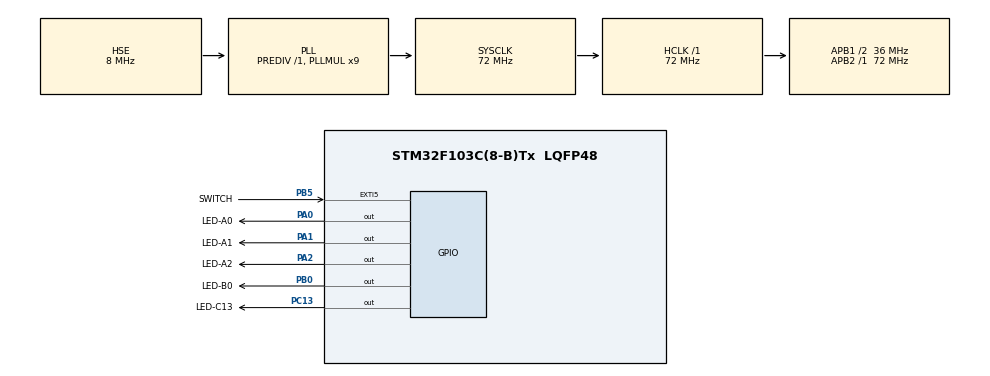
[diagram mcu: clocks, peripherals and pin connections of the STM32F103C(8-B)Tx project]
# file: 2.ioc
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Mcu.Family=STM32F1
Mcu.Name=STM32F103C(8-B)Tx
Mcu.Package=LQFP48
NVIC.EXTI9_5_IRQn=true\:1\:0\:true\:false\:true\:true\:true\:true
NVIC.PriorityGroup=NVIC_PRIORITYGROUP_4
PA0-WKUP.GPIO_Label=LED-A0
PA0-WKUP.Signal=GPIO_Output
PA1.GPIO_Label=LED-A1
PA1.Signal=GPIO_Output
PA13.Mode=Serial_Wire
PA13.Signal=SYS_JTMS-SWDIO
PA14.Mode=Serial_Wire
PA14.Signal=SYS_JTCK-SWCLK
PA2.GPIO_Label=LED-A2
PA2.Signal=GPIO_Output
PB0.GPIO_Label=LED-B0
PB0.Signal=GPIO_Output
PB5.GPIO_Label=SWITCH
PB5.GPIO_ModeDefaultEXTI=GPIO_MODE_IT_RISING_FALLING
PB5.GPIO_PuPd=GPIO_PULLDOWN
PB5.Signal=GPXTI5
PC13-TAMPER-RTC.GPIO_Label=LED-C13
PC13-TAMPER-RTC.Signal=GPIO_Output
PD0-OSC_IN.Mode=HSE-External-Oscillator
PD0-OSC_IN.Signal=RCC_OSC_IN
PD1-OSC_OUT.Mode=HSE-External-Oscillator
PD1-OSC_OUT.Signal=RCC_OSC_OUT
ProjectManager.HeapSize=0x200
ProjectManager.StackSize=0x400
ProjectManager.TargetToolchain=MDK-ARM V5.32
RCC.AHBFreq_Value=72000000
RCC.APB1CLKDivider=RCC_HCLK_DIV2
RCC.APB1Freq_Value=36000000
RCC.APB1TimFreq_Value=72000000
RCC.APB2Freq_Value=72000000
RCC.APB2TimFreq_Value=72000000
RCC.HCLKFreq_Value=72000000
RCC.PLLMUL=RCC_PLL_MUL9
RCC.PLLSourceVirtual=RCC_PLLSOURCE_HSE
RCC.SYSCLKFreq_VALUE=72000000
RCC.SYSCLKSource=RCC_SYSCLKSOURCE_PLLCLK
RCC.USBFreq_Value=72000000
board=custom

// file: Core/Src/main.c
 /* USER CODE BEGIN Header */
/**
  ******************************************************************************
  * @file           : main.c
  * @brief          : Main program body
  ******************************************************************************
  * @attention
  *
  * Copyright (c) 2024 STMicroelectronics.
  * All rights reserved.
  *
  * This software is licensed under terms that can be found in the LICENSE file
  * in the root directory of this software component.
  * If no LICENSE file comes with this software, it is provided AS-IS.
  *
  ******************************************************************************
  */
/* USER CODE END Header */
#include "main.h"
#include "gpio.h"

void SystemClock_Config(void);

/* USER CODE BEGIN 0 */
uint32_t sign=0;//自定义中断标识符号
void HAL_GPIO_EXTI_Callback(uint16_t GPIO_Pin){
  if(GPIO_Pin == SWITCH_Pin){
      //获取B5的电位
     GPIO_PinState pinState = HAL_GPIO_ReadPin(SWITCH_GPIO_Port,SWITCH_Pin);

      //高电位
      if(pinState==GPIO_PIN_SET)//PB5高电位流水灯亮
      {
		  sign=1;
	  }
      //低电位
      else if(pinState==GPIO_PIN_RESET)//PB5低电位流水灯灭
	  {
		  sign=0;//PB5低电位标识
	  }
      }
   }

/* USER CODE END 0 */

int main(void)
{

  /* MCU Configuration--------------------------------------------------------*/

  /* Reset of all peripherals, Initializes the Flash interface and the Systick. */
  HAL_Init();

  /* Configure the system clock */
  SystemClock_Config();

  /* Initialize all configured peripherals */
  MX_GPIO_Init();

  /* Infinite loop */
  /* USER CODE BEGIN WHILE */
  while (1)
  {
		switch(sign)
		{
			case 0:
			{
					HAL_GPIO_WritePin(GPIOA,GPIO_PIN_0,GPIO_PIN_RESET);
				  HAL_GPIO_WritePin(GPIOB,GPIO_PIN_0,GPIO_PIN_SET);
				  HAL_GPIO_WritePin(GPIOC,GPIO_PIN_13,GPIO_PIN_SET);
				  HAL_Delay(500);
			if(sign==1)
				{
				HAL_GPIO_WritePin(GPIOA,GPIO_PIN_0,GPIO_PIN_SET);
				HAL_GPIO_WritePin(GPIOB,GPIO_PIN_0,GPIO_PIN_SET);
				HAL_GPIO_WritePin(GPIOC,GPIO_PIN_13,GPIO_PIN_SET);
				   break;
				}

			  	HAL_GPIO_WritePin(GPIOA,GPIO_PIN_0,GPIO_PIN_SET);
				  HAL_GPIO_WritePin(GPIOB,GPIO_PIN_0,GPIO_PIN_RESET);
			   	HAL_GPIO_WritePin(GPIOC,GPIO_PIN_13,GPIO_PIN_SET);
			   	HAL_Delay(500);
				if(sign==1)
				{
				HAL_GPIO_WritePin(GPIOA,GPIO_PIN_0,GPIO_PIN_SET);
				HAL_GPIO_WritePin(GPIOB,GPIO_PIN_0,GPIO_PIN_SET);
				HAL_GPIO_WritePin(GPIOC,GPIO_PIN_13,GPIO_PIN_SET);
				   break;
				}

				  HAL_GPIO_WritePin(GPIOA,GPIO_PIN_0,GPIO_PIN_SET);
				  HAL_GPIO_WritePin(GPIOB,GPIO_PIN_0,GPIO_PIN_SET);
				  HAL_GPIO_WritePin(GPIOC,GPIO_PIN_13,GPIO_PIN_RESET);
				  HAL_Delay(500);
			}

			case 1:

			{
				HAL_GPIO_WritePin(GPIOA,GPIO_PIN_0,GPIO_PIN_SET);
				HAL_GPIO_WritePin(GPIOB,GPIO_PIN_0,GPIO_PIN_SET);
				HAL_GPIO_WritePin(GPIOC,GPIO_PIN_13,GPIO_PIN_SET);
				break;
			}

		}

    /* USER CODE END WHILE */

  }
}

void SystemClock_Config(void)
{
  RCC_OscInitTypeDef RCC_OscInitStruct = {0};
  RCC_ClkInitTypeDef RCC_ClkInitStruct = {0};

  /** Initializes the RCC Oscillators according to the specified parameters
  * in the RCC_OscInitTypeDef structure.
  */
  RCC_OscInitStruct.OscillatorType = RCC_OSCILLATORTYPE_HSE;
  RCC_OscInitStruct.HSEState = RCC_HSE_ON;
  RCC_OscInitStruct.HSEPredivValue = RCC_HSE_PREDIV_DIV1;
  RCC_OscInitStruct.HSIState = RCC_HSI_ON;
  RCC_OscInitStruct.PLL.PLLState = RCC_PLL_ON;
  RCC_OscInitStruct.PLL.PLLSource = RCC_PLLSOURCE_HSE;
  RCC_OscInitStruct.PLL.PLLMUL = RCC_PLL_MUL9;
  if (HAL_RCC_OscConfig(&RCC_OscInitStruct) != HAL_OK)
  {
    Error_Handler();
  }

  /** Initializes the CPU, AHB and APB buses clocks
  */
  RCC_ClkInitStruct.ClockType = RCC_CLOCKTYPE_HCLK|RCC_CLOCKTYPE_SYSCLK
                              |RCC_CLOCKTYPE_PCLK1|RCC_CLOCKTYPE_PCLK2;
  RCC_ClkInitStruct.SYSCLKSource = RCC_SYSCLKSOURCE_PLLCLK;
  RCC_ClkInitStruct.AHBCLKDivider = RCC_SYSCLK_DIV1;
  RCC_ClkInitStruct.APB1CLKDivider = RCC_HCLK_DIV2;
  RCC_ClkInitStruct.APB2CLKDivider = RCC_HCLK_DIV1;

  if (HAL_RCC_ClockConfig(&RCC_ClkInitStruct, FLASH_LATENCY_2) != HAL_OK)
  {
    Error_Handler();
  }
}

void Error_Handler(void)
{
  __disable_irq();
  while (1)
  {
  }
}
